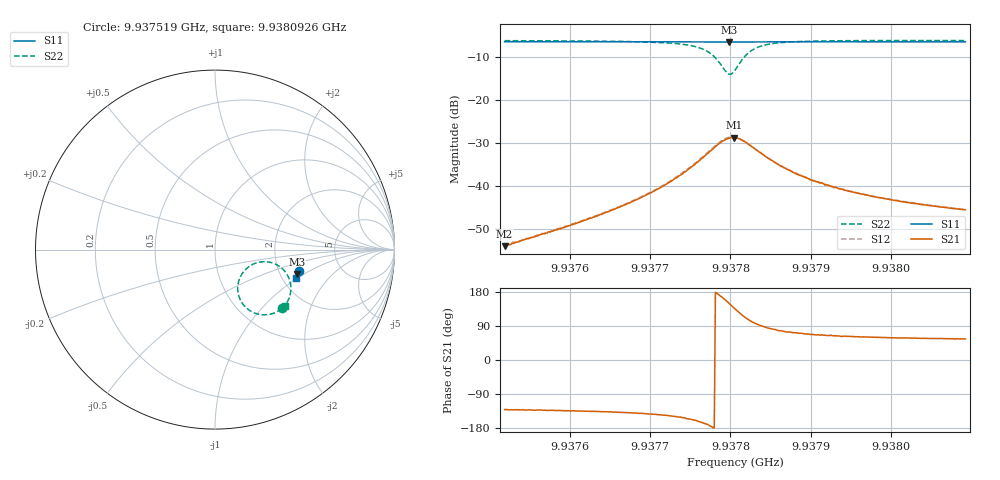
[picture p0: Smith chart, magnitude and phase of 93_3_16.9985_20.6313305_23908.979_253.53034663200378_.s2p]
#  HZ  S  RI  R  50.00
! Rohde & Schwarz Vector Network Analyzer
! Rohde-Schwarz,ZNB20-2Port,1311601062101988,3.16
! Created: UTC 3/20/2024, 10:56:13 PM
! freq[Hz]  re:S11  im:S11  re:S21  im:S21  re:S12  im:S12  re:S22  im:S22
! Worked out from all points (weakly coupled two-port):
!   401 points, 9.937519 GHz to 9.9380926 GHz, reference 50 ohm
!   highest |S21| = -28.68 dB at 9.9378044 GHz (marker M1); lowest = -54.0 dB at 9.937519 GHz (marker M2)
!   lowest |S11| = -6.4 dB at 9.9377986 GHz (marker M3), VSWR 2.82, Z = 123 - j43.7 ohm
!   |S11| at or under -10 dB: nowhere
!   |S22| runs from -13.9 to -6.0 dB; largest |S21 - S12| = 0.0019
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9.93751902e9  0.4671 -0.1205  -0.0013 -0.00151  -0.00137 -0.00152  0.3722 -0.3276
9.93761509e9  0.4649 -0.1271  -0.00273 -0.00276  -0.00287 -0.00275  0.3547 -0.3403
9.93767244e9  0.4634 -0.131  -0.00472 -0.00411  -0.00486 -0.00412  0.3342 -0.3514
9.93771116e9  0.4623 -0.1338  -0.00762 -0.00546  -0.00787 -0.00546  0.3068 -0.3601
9.93773697e9  0.4612 -0.1357  -0.0116 -0.00652  -0.0118 -0.00643  0.2724 -0.3635
9.93776564e9  0.4594 -0.1377  -0.0206 -0.00536  -0.0214 -0.00502  0.1982 -0.3424
9.93777712e9  0.4585 -0.1381  -0.0265 -0.00155  -0.0274 -0.000934  0.1555 -0.3036
9.93778715e9  0.4572 -0.1379  -0.0314 0.00549  -0.0321 0.00697  0.128 -0.2367
9.93779432e9  0.457 -0.1376  -0.0324 0.0135  -0.0326 0.0153  0.1335 -0.1713
9.93779862e9  0.4567 -0.1372  -0.031 0.0186  -0.0311 0.0205  0.1524 -0.1319
9.93780436e9  0.457 -0.1368  -0.0272 0.0248  -0.0263 0.0264  0.1952 -0.0906
9.93780579e9  0.4572 -0.1366  -0.0258 0.026  -0.0251 0.0276  0.208 -0.0834
9.93781296e9  0.4577 -0.1365  -0.018 0.0298  -0.017 0.0308  0.2748 -0.0675
9.93782013e9  0.4585 -0.1368  -0.0109 0.03  -0.00976 0.0307  0.3317 -0.0789
9.9378273e9  0.459 -0.1374  -0.00513 0.0281  -0.00424 0.0284  0.3713 -0.1032
9.9378359e9  0.4594 -0.1381  -0.000898 0.0249  -0.000152 0.025  0.399 -0.1351
9.93785024e9  0.4595 -0.1395  0.00252 0.02  0.00309 0.02  0.4187 -0.1796
9.93786888e9  0.4593 -0.1413  0.00428 0.0155  0.00448 0.0154  0.4232 -0.2183
9.93790186e9  0.4587 -0.144  0.0044 0.0108  0.00481 0.0108  0.4176 -0.2564
9.93794631e9  0.4576 -0.1473  0.00406 0.00776  0.00427 0.00775  0.4077 -0.2818
9.93799793e9  0.4563 -0.1507  0.00361 0.00597  0.00376 0.00597  0.3988 -0.2979
9.93809257e9  0.4537 -0.157  0.003 0.00437  0.00314 0.00432  0.3872 -0.3143
